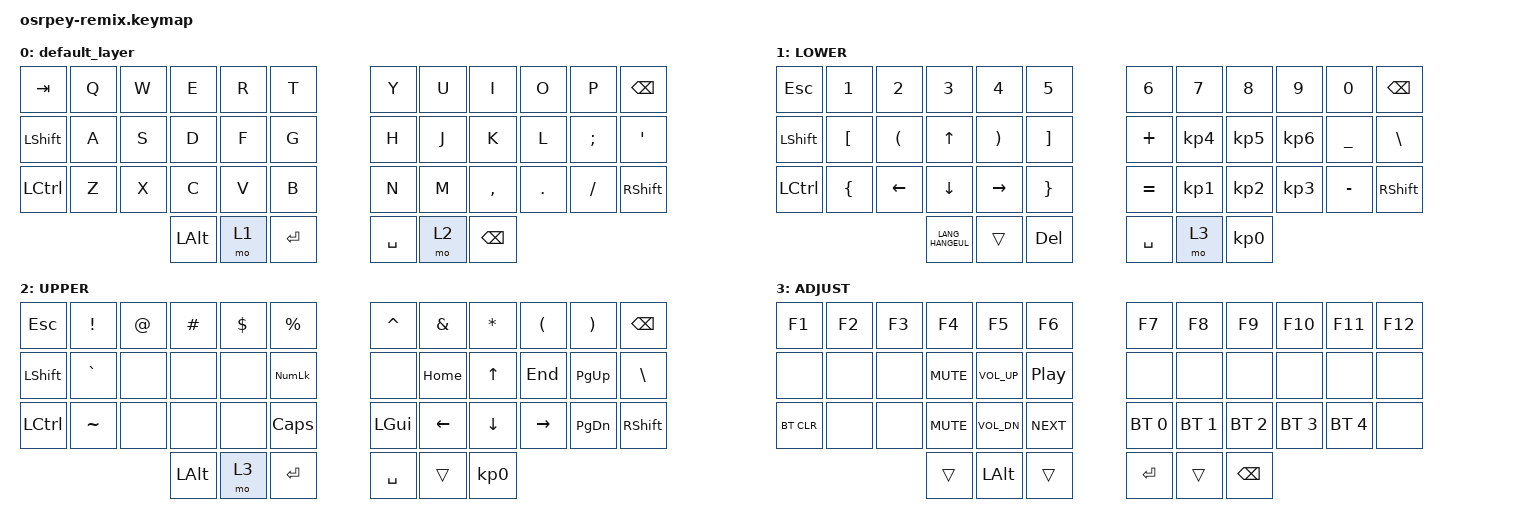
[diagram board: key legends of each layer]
 #include <behaviors.dtsi>
 #include <dt-bindings/zmk/keys.h>
 #include <dt-bindings/zmk/bt.h>
 #include <dt-bindings/zmk/outputs.h>

 #define DEFAULT 0
 #define LOWER     1
 #define RAISE     2
 #define ADJUST    3
 
 / {
 
    keymap {
         compatible = "zmk,keymap";
 
         default_layer {

            bindings = <
                       &kp TAB          &kp Q        &kp W        &kp E        &kp R        &kp T           &kp Y        &kp U        &kp I           &kp O          &kp P           &kp BSPC
                       &kp LSHFT        &kp A        &kp S        &kp D        &kp F        &kp G           &kp H        &kp J        &kp K           &kp L          &kp SEMI        &kp SQT
                       &kp LCTRL        &kp Z        &kp X        &kp C        &kp V        &kp B           &kp N        &kp M        &kp COMMA        &kp DOT        &kp FSLH        &kp RSHIFT
                                                                    &kp LALT    &mo 1     &kp RET         &kp SPACE      &mo 2       &kp BSPC
            >;
         };
 
         lower_layer {
            display-name = "LOWER";
            bindings = < 
                   &kp ESC     &kp N1 &kp N2 &kp N3 &kp N4 &kp N5                       &kp N6 &kp N7 &kp N8 &kp N9 &kp N0 &kp BSPC
                   &kp LSHFT   &kp LBKT  &kp LPAR  &kp UP    &kp RPAR  &kp RBKT                        &kp PLUS  &kp KP_N4 &kp KP_N5 &kp KP_N6 &kp UNDER &kp BSLH
                   &kp LCTRL   &kp LBRC  &kp LEFT  &kp DOWN  &kp RIGHT &kp RBRC                        &kp EQUAL &kp KP_N1 &kp KP_N2 &kp KP_N3 &kp MINUS &kp RSHFT
                                                    &kp LANG_HANGEUL  &trans    &kp DEL         &kp SPACE   &mo 3     &kp KP_N0
                    >;
            };
         raise_layer {
            display-name = "UPPER";

            bindings = <
                &kp ESC     &kp EXCL  &kp AT    &kp HASH  &kp DLLR  &kp PRCNT                               &kp CARET &kp AMPS  &kp ASTRK &kp LPAR  &kp RPAR  &kp BSPC
                &kp LSHFT   &kp GRAVE &none     &none     &none     &kp KP_NLCK                             &none     &kp HOME  &kp UP    &kp END   &kp PG_UP &kp BSLH
                &kp LCTRL   &kp TILDE &none     &none     &none     &kp CAPS                                &kp LGUI  &kp LEFT  &kp DOWN  &kp RIGHT &kp PG_DN &kp RSHFT
                                                &kp LALT    &mo 3     &kp RET                              &kp SPACE   &trans    &kp KP_N0
            >;
         };
 
         adjust_layer {
            display-name = "ADJUST";

            bindings = <
                &kp F1  &kp F2   &kp F3           &kp F4    &kp F5          &kp F6                         &kp F7        &kp F8        &kp F9         &kp F10       &kp F11     &kp F12
                &none       &none   &none    &kp C_MUTE      &kp C_VOL_UP  &kp C_PP                        &none           &none         &none         &none          &none         &none
                &bt BT_CLR  &none   &none    &kp K_MUTE      &kp C_VOL_DN  &kp C_NEXT                      &bt BT_SEL 0    &bt BT_SEL 1  &bt BT_SEL 2  &bt BT_SEL 3   &bt BT_SEL 4  &none
                                   &trans          &kp LALT      &trans          &kp RET         &trans        &kp BSPC
            >;
         };

     };
 };
